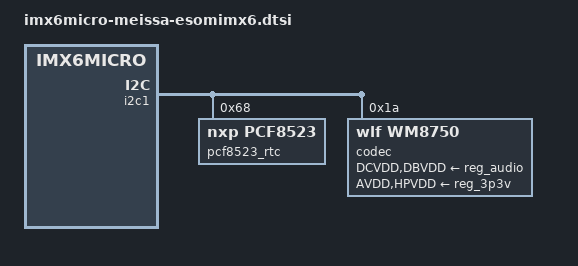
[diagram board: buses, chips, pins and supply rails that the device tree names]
/* RTC driver and CODEC driver for MEISSA base board */

#include <dt-bindings/input/input.h>

/ {
sound {
                compatible = "fsl,imx6q-esomimx6-wm8750",
                              "fsl,imx-audio-wm8750";
		model = "wm8750-audio";
                ssi-controller = <&ssi1>;
                audio-codec = <&codec>;
                audio-routing =
                        "Headphone Jack", "LOUT1",
                        "Headphone Jack", "ROUT1";
                mux-int-port = <1>;
                mux-ext-port = <3>;
       };

};

&i2c1 {
	pcf8523_rtc@68 {
		compatible = "nxp,pcf8523";
		reg = <0x68>;
	};
	codec: wm8750@1a {
		compatible = "wlf,wm8750";
                reg = <0x1a>;
                clocks = <&clks 201>;
                DCVDD-supply = <&reg_audio>;
                DBVDD-supply = <&reg_audio>;
                AVDD-supply = <&reg_3p3v>;
                HPVDD-supply = <&reg_3p3v>;
	};

};

